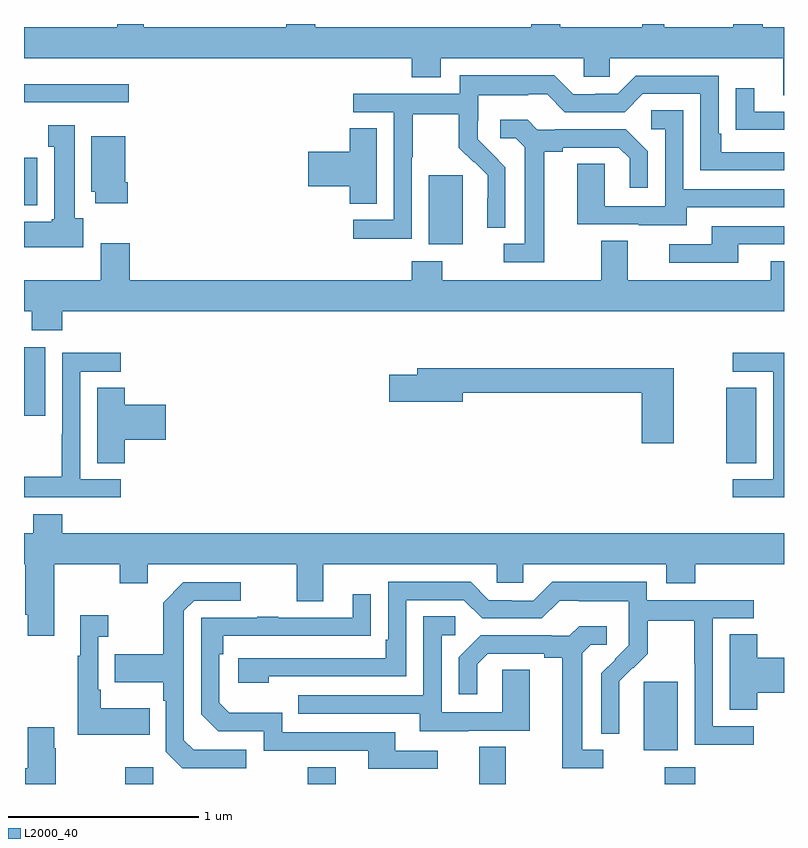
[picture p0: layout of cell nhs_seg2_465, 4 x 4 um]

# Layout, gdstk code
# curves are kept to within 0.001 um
import gdstk
lib = gdstk.Library(unit=1e-6, precision=1e-09)
def R(c, l, rs):  # rectangles x0, y0, x1, y1
    for r in rs: c.add(gdstk.rectangle(r[:2], r[2:], *l))
def P(c, l, *ps):  # polygons
    for p in ps: c.add(gdstk.Polygon(p, *l))
L2000_40 = (2000, 40)

nhs_seg2_465 = lib.new_cell('nhs_seg2_465')
R(nhs_seg2_465, L2000_40, [(133.534,659.8,133.68,659.887), (134.494,659.8,134.641,659.887), (135.395,659.8,135.535,659.996), (136.372,659.8,136.532,659.887), (136.262,659.978,136.441,660.339), (136.697,661.489,136.855,661.886), (133,661.737,133.111,662.098), (135.131,662.642,135.31,663.003), (133,662.846,133.071,663.097), (133,663.387,133.552,663.484)])
P(nhs_seg2_465, L2000_40, [(137,663.784),(136.887,663.784),(136.887,663.8),(136.732,663.8),(136.732,663.784),(136.371,663.784),(136.371,663.8),(136.253,663.8),(136.253,663.784),(135.823,663.784),(135.823,663.8),(135.671,663.8),(135.671,663.784),(134.534,663.784),(134.534,663.8),(134.381,663.8),(134.381,663.784),(133.629,663.784),(133.629,663.8),(133.491,663.8),(133.491,663.784),(133,663.784),(133,663.62),(135.041,663.62),(135.041,663.521),(135.193,663.521),(135.193,663.62),(135.945,663.62),(135.945,663.522),(136.083,663.522),(136.083,663.62),(136.997,663.62),(136.997,663.426),(137,663.426)],
  [(135.042,663.1),(135.045,663.1),(135.045,663.324),(135.289,663.324),(135.289,663.149),(135.366,663.072),(135.369,663.075),(135.44,663.005),(135.44,662.882),(135.438,662.882),(135.438,662.728),(135.534,662.728),(135.534,663.046),(135.388,663.194),(135.388,663.291),(135.39,663.291),(135.39,663.425),(135.653,663.425),(135.653,663.429),(135.753,663.429),(135.846,663.336),(136.161,663.336),(136.257,663.432),(136.56,663.432),(136.56,663.03),(137,663.03),(137,663.126),(136.669,663.126),(136.669,663.223),(136.656,663.223),(136.656,663.528),(136.221,663.528),(136.125,663.432),(136.007,663.432),(136.007,663.429),(135.891,663.429),(135.791,663.529),(135.294,663.529),(135.294,663.432),(134.733,663.432),(134.733,663.336),(134.946,663.336),(134.946,662.769),(134.733,662.769),(134.733,662.671),(135.042,662.671)],
  [(137,663.339),(136.843,663.339),(136.843,663.463),(136.747,663.463),(136.747,663.244),(136.849,663.244),(136.849,663.243),(137,663.243)],
  [(136.489,662.835),(137,662.835),(137,662.931),(136.47,662.931),(136.47,663.347),(136.302,663.347),(136.302,663.246),(136.374,663.246),(136.374,662.841),(136.056,662.841),(136.056,663.065),(135.911,663.065),(135.911,662.745),(136.235,662.745),(136.235,662.741),(136.489,662.741)],
  [(135.739,663.128),(135.835,663.128),(135.835,663.15),(136.13,663.15),(136.187,663.093),(136.187,662.937),(136.284,662.937),(136.284,663.13),(136.168,663.246),(135.796,663.246),(135.796,663.243),(135.702,663.243),(135.65,663.295),(135.507,663.295),(135.507,663.198),(135.588,663.198),(135.635,663.151),(135.635,662.643),(135.525,662.643),(135.525,662.547),(135.739,662.547)],
  [(133.312,662.778),(133.267,662.778),(133.267,663.268),(133.127,663.268),(133.127,663.155),(133.16,663.155),(133.16,662.772),(133.147,662.772),(133.147,662.758),(133,662.758),(133,662.624),(133.312,662.624)],
  [(134.857,663.251),(134.714,663.251),(134.714,663.128),(134.496,663.128),(134.496,662.945),(134.714,662.945),(134.714,662.854),(134.857,662.854)],
  [(133.547,662.968),(133.534,662.968),(133.534,663.208),(133.355,663.208),(133.355,662.916),(133.376,662.916),(133.376,662.856),(133.547,662.856)],
  [(136.759,662.64),(137,662.64),(137,662.736),(136.619,662.736),(136.619,662.64),(136.395,662.64),(136.395,662.544),(136.759,662.544)],
  [(133.202,662.288),(137,662.288),(137,662.551),(136.931,662.551),(136.931,662.452),(136.177,662.452),(136.177,662.66),(136.037,662.66),(136.037,662.452),(135.201,662.452),(135.201,662.551),(135.041,662.551),(135.041,662.452),(133.556,662.452),(133.556,662.647),(133.403,662.647),(133.403,662.452),(133,662.452),(133,662.288),(133.042,662.288),(133.042,662.189),(133.202,662.189)],
  [(133.51,661.404),(133.296,661.404),(133.296,661.971),(133.51,661.971),(133.51,662.07),(133.2,662.07),(133.2,661.64),(133.198,661.64),(133.198,661.417),(133,661.417),(133,661.308),(133.51,661.308)],
  [(137,662.07),(136.731,662.07),(136.731,661.971),(136.944,661.971),(136.944,661.404),(136.731,661.404),(136.731,661.308),(137,661.308)],
  [(136.42,661.987),(135.071,661.987),(135.071,661.953),(134.922,661.953),(134.922,661.811),(135.31,661.811),(135.31,661.858),(136.25,661.858),(136.25,661.593),(136.42,661.593)],
  [(133.529,661.613),(133.747,661.613),(133.747,661.796),(133.529,661.796),(133.529,661.886),(133.385,661.886),(133.385,661.489),(133.529,661.489)],
  [(133.159,660.956),(133.504,660.956),(133.504,660.857),(133.651,660.857),(133.651,660.956),(134.435,660.956),(134.435,660.762),(134.575,660.762),(134.575,660.956),(135.489,660.956),(135.489,660.858),(135.627,660.858),(135.627,660.956),(136.379,660.956),(136.379,660.857),(136.532,660.857),(136.532,660.956),(137,660.956),(137,661.12),(133.202,661.12),(133.202,661.219),(133.049,661.219),(133.049,661.12),(133,661.12),(133,660.956),(133.007,660.956),(133.007,660.691),(133.019,660.691),(133.019,660.579),(133.159,660.579)],
  [(136.84,660.105),(136.626,660.105),(136.626,660.672),(136.84,660.672),(136.84,660.768),(136.278,660.768),(136.278,660.865),(135.781,660.865),(135.681,660.765),(135.566,660.765),(135.566,660.768),(135.447,660.768),(135.351,660.864),(134.916,660.864),(134.916,660.559),(134.903,660.559),(134.903,660.462),(134.127,660.462),(134.127,660.332),(134.288,660.332),(134.288,660.366),(135.012,660.366),(135.012,660.768),(135.315,660.768),(135.411,660.672),(135.726,660.672),(135.819,660.765),(135.919,660.765),(135.919,660.761),(136.182,660.761),(136.182,660.627),(136.184,660.627),(136.184,660.53),(136.038,660.382),(136.038,660.064),(136.134,660.064),(136.133,660.341),(136.203,660.411),(136.206,660.408),(136.283,660.485),(136.283,660.66),(136.528,660.66),(136.528,660.436),(136.53,660.436),(136.53,660.007),(136.84,660.007)],
  [(134.17,659.979),(133.893,659.979),(133.842,660.03),(133.842,660.711),(133.896,660.765),(134.14,660.765),(134.14,660.861),(133.839,660.861),(133.734,660.755),(133.734,660.483),(133.477,660.483),(133.477,660.335),(133.734,660.335),(133.734,660.239),(133.746,660.239),(133.746,659.97),(133.833,659.883),(134.17,659.883)],
  [(135.178,659.976),(134.953,659.976),(134.953,660.072),(134.358,660.072),(134.358,660.175),(134.081,660.175),(134.028,660.228),(134.028,660.482),(134.048,660.482),(134.048,660.579),(134.825,660.58),(134.825,660.799),(134.729,660.799),(134.729,660.675),(134.339,660.675),(134.339,660.68),(134.227,660.68),(134.227,660.675),(133.932,660.675),(133.932,660.168),(134.022,660.078),(134.262,660.078),(134.262,659.976),(134.813,659.976),(134.813,659.88),(135.178,659.88)],
  [(133.661,660.199),(133.405,660.199),(133.405,660.295),(133.392,660.295),(133.392,660.575),(133.444,660.575),(133.444,660.688),(133.295,660.688),(133.295,660.475),(133.284,660.475),(133.284,660.059),(133.661,660.059)],
  [(135.337,660.081),(135.661,660.081),(135.661,660.401),(135.516,660.401),(135.516,660.177),(135.198,660.177),(135.198,660.582),(135.271,660.582),(135.271,660.683),(135.102,660.683),(135.102,660.267),(134.443,660.267),(134.443,660.171),(135.083,660.171),(135.083,660.077),(135.337,660.077)],
  [(136.048,659.979),(135.937,659.979),(135.937,660.487),(135.984,660.534),(136.066,660.534),(136.066,660.631),(135.922,660.631),(135.87,660.579),(135.776,660.579),(135.776,660.582),(135.404,660.582),(135.288,660.466),(135.288,660.273),(135.385,660.273),(135.385,660.429),(135.442,660.486),(135.737,660.486),(135.737,660.464),(135.833,660.464),(135.833,659.883),(136.048,659.883)],
  [(136.859,660.281),(137,660.281),(137,660.464),(136.859,660.464),(136.859,660.587),(136.715,660.587),(136.715,660.19),(136.859,660.19)],
  [(133.167,659.987),(133.159,659.987),(133.159,660.1),(133.019,660.1),(133.019,659.884),(133.007,659.884),(133.007,659.8),(133.167,659.8)])

lib.write_gds('nhs_seg2_465.gds')
